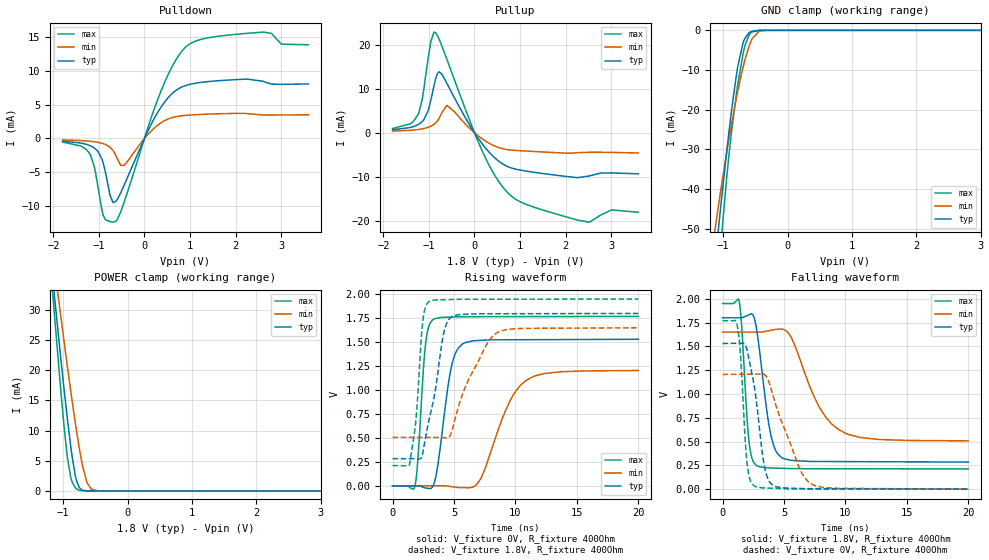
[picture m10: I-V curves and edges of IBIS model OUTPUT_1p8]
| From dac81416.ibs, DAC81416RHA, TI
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|   OUTPUT_1p8 Model
[Model]   OUTPUT_1p8
Model_type   3-state
Polarity   Non-Inverting
Vmeas = 0.9
Vref = 0
Cref = 2pF
Rref = 100000
|   typ   min   max
C_comp   3.2782E-12   3.2184E-12  3.3377E-12
|  Where Nom  PVT is Nominal Process, 1.8V,  25C
|   Fast PVT is Strong Process,  1.95, -40C
|   Slow PVT is Weak Process,   1.65V, 125C
[Voltage Range]   1.8   1.65   1.95
|Junction Temperature
[Temperature Range]   25   125   -40
[Pullup Reference]   1.8   1.65   1.95
[Pulldown Reference]   0   0   0
[Power Clamp Reference]   1.8   1.65   1.95
[GND Clamp Reference]   0   0   0
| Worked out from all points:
|   slope of the pulldown table from 0 to 0.27 V, typ, clamps not added: 74.6 ohm
|   slope of the pullup table from 0 to 0.27 V, typ, clamps not added: 70.7 ohm
|   GND clamp passes 1 mA (typ) near -0.62 V on its own axis
|   POWER clamp passes 1 mA (typ) near -0.77 V on its own axis
|   falling waveform, V_fixture 1.8V, R_fixture 400Ohm: 20-80 % time 933ps typ, 2.4ns min, 499ps max; typ from 1.8 V to 0.284 V
|   rising waveform, V_fixture 0V, R_fixture 400Ohm: 20-80 % time 977ps typ, 2.2ns min, 533ps max; typ from 0 V to 1.53 V
|   rising waveform, V_fixture 1.8V, R_fixture 400Ohm: 20-80 % time 1.21ns typ, 2.27ns min, 587ps max; typ from 0.284 V to 1.8 V
|   falling waveform, V_fixture 0V, R_fixture 400Ohm: 20-80 % time 952ps typ, 2.04ns min, 480ps max; typ from 1.53 V to 0 V
[Pulldown]
|   Voltage   I(typ)   I(min)   I(max)
-1.8V     -396.9uA   -212.4uA   -532.9uA
-1.276V   -870uA     -370.6uA   -1.642mA
-1.093V   -1.457mA   -500.7uA   -4.441mA
-1.028V   -1.884mA   -570.9uA   -6.967mA
-909mV    -3.601mA   -765uA     -11.35mA
-682.2mV  -9.533mA   -1.876mA   -12.43mA
-444.6mV  -6.897mA   -3.99mA    -9.411mA
311.4mV   4.09mA     2.082mA    6.16mA
900mV     7.839mA    3.412mA    13.53mA
2.623V    8.422mA    3.479mA    15.78mA
3.006V    8.027mA    3.485mA    14mA
3.6V      8.086mA    3.514mA    13.9mA
[GND Clamp]
|   Voltage   I(typ)   I(min)   I(max)
-1.8V     -176.7mA   -135.1mA   -218.8mA
-1.195V   -69.71mA   -57.93mA   -86.73mA
-1.033V   -43.73mA   -39.88mA   -53.6mA
-946.8mV  -30.84mA   -30.98mA   -37.56mA
-871.2mV  -20.46mA   -23.74mA   -25.79mA
-774mV    -9.228mA   -15.38mA   -13.8mA
-676.8mV  -2.577mA   -8.406mA   -4.873mA
-585mV    -486.3uA   -3.453mA   -895.8uA
-552.6mV  -238.1uA   -2.201mA   -417.2uA
-444.6mV  -14.73uA   -263.6uA   -20.52uA
-352.8mV  -796.5nA   -30.95uA   -666.4nA
3.6V      0A         0A         0A
[Pullup]
|   Voltage   I(typ)   I(min)   I(max)
-1.8V     667.3uA    366.8uA    956uA
-1.233V   1.878mA    750.1uA    4.24mA
-1.147V   2.56mA     890.4uA    7.734mA
-1.017V   5.069mA    1.23mA     17.1mA
-887.4mV  10.85mA    1.932mA    22.93mA
-774mV    13.89mA    3.358mA    21.27mA
-606.6mV  11.25mA    6.225mA    16.72mA
219.6mV   -3.194mA   -1.736mA   -5.284mA
824.4mV   -8.069mA   -3.957mA   -14.55mA
2.525V    -9.836mA   -4.445mA   -20.38mA
3.011V    -9.146mA   -4.476mA   -17.57mA
3.6V      -9.363mA   -4.603mA   -18.12mA
[POWER Clamp]
|   Voltage   I(typ)   I(min)   I(max)
-1.8V     105.7mA    95.06mA    121.7mA
-1.157V   34.58mA    39.02mA    32.06mA
-1.147V   33.43mA    38.11mA    30.63mA
-1.039V   22.15mA    29.07mA    16.8mA
-936mV    12.1mA     20.74mA    5.716mA
-871.2mV  6.508mA    15.69mA    1.836mA
-790.2mV  1.618mA    9.779mA    313.3uA
-703.8mV  129.1uA    4.409mA    38.72uA
-633.6mV  12.38uA    1.476mA    6.228uA
-563.4mV  1.303uA    283.6uA    754.6nA
-444.6mV  11.46nA    9.914uA    0A
3.6V      0A         0A         0A
[Ramp]
R_load = 400
|   typ   min   max
dV/dt_r   0.918074/9.76743e-10   0.722564/2.19794e-09   1.06143/5.32603e-10
dV/dt_f   0.909351/9.31819e-10   0.685608/2.39217e-09   1.04268/4.98037e-10
[Falling Waveform]
V_fixture = 1.8V
V_fixture_min = 1.65V
V_fixture_max = 1.95V
R_fixture = 400Ohm
C_fixture = 0F
|   Time   V(typ)   V(min)   V(max)
0s        1.8V       1.65V      1.95V
1.356ns   1.8V       1.65V      1.973V
2.133ns   1.831V     1.65V      523.3mV
2.751ns   1.693V     1.649V     249.2mV
3.888ns   594.5mV    1.667V     223.5mV
4.807ns   331.7mV    1.68V      219.3mV
5.566ns   302.2mV    1.598V     215.8mV
7.899ns   290.6mV    856.4mV    215mV
9.418ns   289.8mV    628.5mV    214.7mV
20ns      284.4mV    507.2mV    212.2mV
[Rising Waveform]
V_fixture = 0V
V_fixture_min = 0V
V_fixture_max = 0V
R_fixture = 400Ohm
C_fixture = 0F
|   Time   V(typ)   V(min)   V(max)
0s        15.25uV    294.1uV    -2.388uV
1.812ns   555.4uV    462.5uV    -9.009mV
2.661ns   -21.53mV   541.5uV    1.451V
3.26ns    -8.631mV   597.2uV    1.731V
4.718ns   1.199V     -6.089mV   1.762V
5.676ns   1.48V      -17.74mV   1.766V
7.12ns    1.519V     64.85mV    1.766V
9.218ns   1.525V     793.9mV    1.767V
10.83ns   1.526V     1.097V     1.767V
20ns      1.53V      1.205V     1.769V
[Rising Waveform]
V_fixture = 1.8V
V_fixture_min = 1.65V
V_fixture_max = 1.95V
R_fixture = 400Ohm
C_fixture = 0F
|   Time   V(typ)   V(min)   V(max)
0s        284.4mV    507.2mV    212.2mV
1.396ns   283.2mV    507.1mV    231.1mV
1.931ns   282.7mV    507mV      731.9mV
2.452ns   339.2mV    507mV      1.709V
2.939ns   669.8mV    506.9mV    1.921V
4.136ns   1.579V     504.3mV    1.943V
4.858ns   1.77V      586.5mV    1.946V
6.224ns   1.793V     1.121V     1.948V
8.639ns   1.797V     1.608V     1.948V
20ns      1.8V       1.65V      1.95V
[Falling Waveform]
|Gnd
V_fixture = 0V
V_fixture_min = 0V
V_fixture_max = 0V
R_fixture = 400Ohm
C_fixture = 0F
|   Time   V(typ)   V(min)   V(max)
0s        1.53V      1.204V     1.769V
1.192ns   1.532V     1.206V     1.72V
1.466ns   1.533V     1.207V     1.396V
1.974ns   1.472V     1.207V     298.7mV
2.54ns    1.11V      1.208V     36.46mV
3.45ns    213.6mV    1.199V     12.6mV
4.217ns   31.06mV    933.3mV    8.978mV
6.305ns   7.196mV    206.7mV    3.403mV
7.357ns   5.085mV    45.74mV    3.141mV
20ns      15.89uV    307.9uV    -1.675uV
